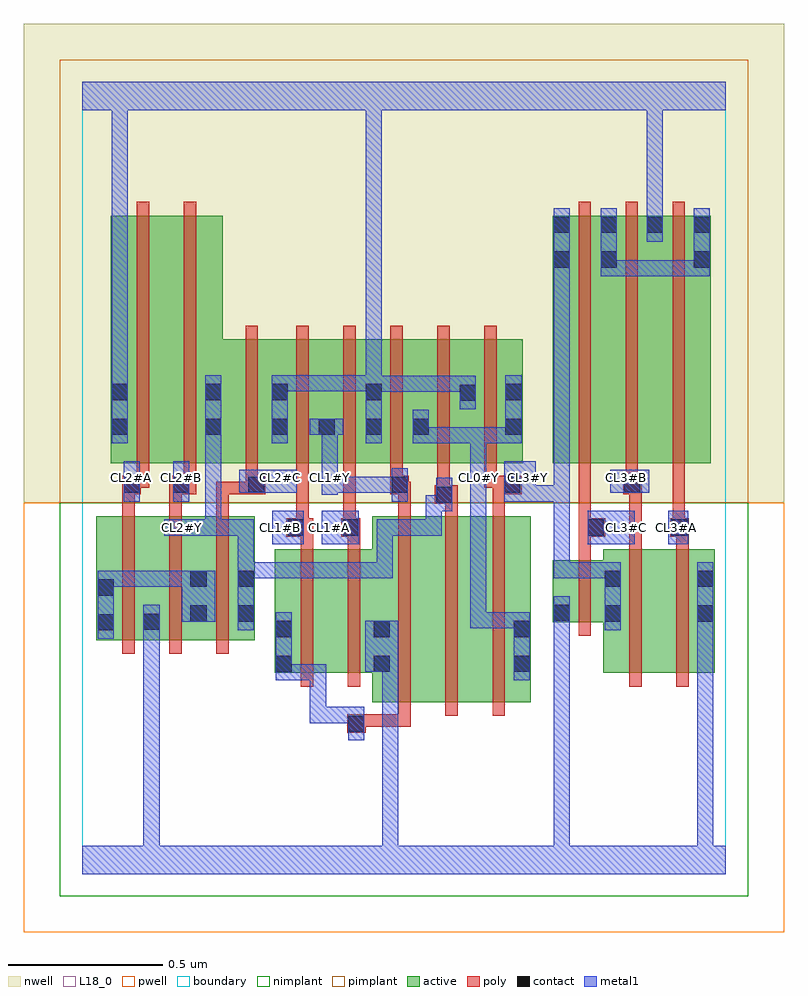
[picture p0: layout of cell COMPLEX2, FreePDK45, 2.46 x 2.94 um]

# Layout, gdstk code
import gdstk
lib = gdstk.Library(unit=1e-6, precision=1e-09)
def R(c, l, rs):  # rectangles x0, y0, x1, y1
    for r in rs: c.add(gdstk.rectangle(r[:2], r[2:], *l))
def A(c, l, x, y, w, h, nx, ny, dx, dy):  # array of equal rectangles
    R(c, l, [(x+i*dx, y+j*dy, x+i*dx+w, y+j*dy+h) for i in range(nx) for j in range(ny)])
active = (1, 0)
pwell = (2, 0)
nwell = (3, 0)
nimplant = (4, 0)
pimplant = (5, 0)
poly = (9, 0)
contact = (10, 0)
metal1 = (11, 0)
L18_0 = (18, 0)
boundary = (235, 0)

complex2 = lib.new_cell('COMPLEX2')
A(complex2, active, 0.194, 0.756, 0.06, 0.4, 3, 1, 0.152, 0)
A(complex2, active, 0.608, 1.328, 0.06, 0.4, 3, 1, 0.152, 0)
A(complex2, active, 0.608, 1.328, 0.212, 0.4, 4, 1, 0.152, 0)
R(complex2, active, [(0.938,0.556,1.118,1.156), (0.938,0.556,0.998,1.05), (1.118,0.556,1.27,1.156), (1.27,0.556,1.45,1.156), (1.39,0.556,1.45,1.156), (0.622,0.65,0.682,1.05), (0.622,0.65,0.802,1.05), (0.802,0.65,0.998,1.05), (1.684,0.65,1.864,1.05), (1.684,0.65,1.744,0.984), (1.864,0.65,2.044,1.05), (1.984,0.65,2.044,1.05), (0.046,0.756,0.106,1.156), (0.046,0.756,0.254,1.156), (0.194,0.756,0.406,1.156), (0.346,0.756,0.558,1.156), (1.52,0.814,1.744,1.014), (1.52,0.814,1.58,1.014), (0.092,1.328,0.152,2.128), (0.092,1.328,0.272,2.128), (0.272,1.328,0.454,2.128), (0.394,1.328,0.668,1.728), (1.216,1.328,1.424,1.728), (1.364,1.328,1.424,1.728), (1.52,1.328,1.58,2.128), (1.52,1.328,1.732,2.128), (1.672,1.328,1.732,2.128), (1.672,1.328,1.88,2.128), (1.82,1.328,2.032,2.128), (1.972,1.328,2.032,2.128), (1.064,1.334,1.124,1.728), (0.394,1.364,0.454,2.128), (1.82,1.47,1.88,2.128), (1.216,1.498,1.276,1.728)])
R(complex2, pwell, [(-0.188,-0.188,2.268,1.2)])
R(complex2, nwell, [(-0.188,1.2,2.268,2.748)])
R(complex2, nimplant, [(-0.072,-0.072,2.152,1.2)])
R(complex2, pimplant, [(-0.072,1.2,2.152,2.632)])
A(complex2, poly, 1.022, 0.512, 0.04, 0.688, 3, 1, 0.152, 0)
A(complex2, poly, 0.13, 0.712, 0.04, 0.488, 3, 1, 0.152, 0)
A(complex2, poly, 0.13, 1.16, 0.04, 0.108, 3, 1, 0.152, 0)
A(complex2, poly, 0.692, 1.284, 0.04, 0.488, 5, 1, 0.152, 0)
A(complex2, poly, 1.604, 1.284, 0.04, 0.888, 3, 1, 0.152, 0)
R(complex2, poly, [(0.856,0.456,0.916,0.516), (0.876,0.476,1.062,0.516), (1.022,0.476,1.062,0.516), (1.022,0.476,1.062,0.516), (1.022,0.476,1.062,0.516), (1.022,0.476,1.062,0.552), (0.706,0.606,0.746,1.094), (0.858,0.606,0.898,1.094), (1.768,0.606,1.808,1.094), (1.92,0.606,1.96,1.094), (1.604,0.77,1.644,1.058), (1.604,1.018,1.644,1.13), (0.706,1.054,0.746,1.13), (0.858,1.054,0.898,1.13), (1.768,1.054,1.808,1.268), (1.92,1.054,1.96,1.13), (0.66,1.09,0.746,1.15), (0.838,1.09,0.898,1.15), (1.604,1.09,1.69,1.15), (1.9,1.09,1.96,1.15), (0.692,1.11,0.732,1.324), (0.692,1.11,0.732,1.15), (0.692,1.11,0.732,1.15), (0.844,1.11,0.884,1.324), (0.844,1.11,0.884,1.15), (0.844,1.11,0.884,1.15), (1.604,1.11,1.644,1.324), (1.604,1.11,1.644,1.15), (1.604,1.11,1.644,1.15), (1.908,1.11,1.948,1.324), (1.908,1.11,1.948,1.15), (1.908,1.11,1.948,1.15), (1.022,1.16,1.062,1.268), (1.174,1.16,1.214,1.236), (1.326,1.16,1.366,1.268), (1.14,1.196,1.214,1.256), (1.148,1.216,1.188,1.256), (1.148,1.216,1.188,1.256), (1.148,1.216,1.188,1.324), (0.13,1.228,0.19,1.288), (0.282,1.228,0.33,1.268), (0.29,1.228,0.33,1.268), (0.29,1.228,0.368,1.288), (0.434,1.228,0.568,1.268), (0.528,1.228,0.568,1.268), (0.528,1.228,0.592,1.288), (0.996,1.228,1.056,1.288), (1.016,1.228,1.056,1.268), (1.016,1.228,1.062,1.268), (1.326,1.228,1.42,1.288), (1.748,1.228,1.808,1.288), (1.768,1.228,1.808,1.268), (1.768,1.228,1.808,1.268), (0.15,1.248,0.19,1.288), (0.15,1.248,0.216,1.288), (0.176,1.248,0.216,1.324), (0.328,1.248,0.368,1.324), (0.528,1.248,0.568,1.324), (0.996,1.248,1.036,1.324), (1.3,1.248,1.34,1.324), (1.3,1.248,1.366,1.288), (1.326,1.248,1.366,1.288), (1.756,1.248,1.796,1.324), (0.176,1.284,0.216,2.172), (0.328,1.284,0.368,2.172), (0.528,1.284,0.568,1.772)])
A(complex2, contact, 0.612, 1.42, 0.052, 0.052, 4, 1, 0.152, 0)
R(complex2, contact, [(0.86,0.46,0.912,0.512), (0.626,0.654,0.678,0.706), (0.942,0.654,0.994,0.706), (1.394,0.654,1.446,0.706), (0.626,0.766,0.678,0.818), (0.942,0.766,0.994,0.818), (1.394,0.766,1.446,0.818), (0.05,0.788,0.102,0.84), (0.198,0.79,0.25,0.842), (0.35,0.816,0.402,0.868), (0.502,0.816,0.554,0.868), (1.688,0.816,1.74,0.868), (1.988,0.816,2.04,0.868), (1.524,0.818,1.576,0.87), (0.05,0.9,0.102,0.952), (0.35,0.928,0.402,0.98), (0.502,0.928,0.554,0.98), (1.688,0.928,1.74,0.98), (1.988,0.928,2.04,0.98), (0.664,1.094,0.716,1.146), (0.842,1.094,0.894,1.146), (1.634,1.094,1.686,1.146), (1.904,1.094,1.956,1.146), (1.144,1.2,1.196,1.252), (0.134,1.232,0.186,1.284), (0.294,1.232,0.346,1.284), (0.536,1.232,0.588,1.284), (1,1.232,1.052,1.284), (1.364,1.232,1.416,1.284), (1.752,1.232,1.804,1.284), (0.096,1.42,0.148,1.472), (0.398,1.42,0.45,1.472), (1.368,1.42,1.42,1.472), (1.22,1.53,1.272,1.582), (0.096,1.532,0.148,1.584), (0.398,1.532,0.45,1.584), (0.612,1.532,0.664,1.584), (0.916,1.532,0.968,1.584), (1.368,1.532,1.42,1.584), (1.524,1.96,1.576,2.012), (1.676,1.96,1.728,2.012), (1.976,1.96,2.028,2.012), (1.524,2.072,1.576,2.124), (1.676,2.072,1.728,2.124), (1.824,2.072,1.876,2.124), (1.976,2.072,2.028,2.124)])
R(complex2, metal1, [(0,0,2.08,0.092), (0.198,0.04,0.25,0.092), (0.198,0.04,0.25,0.092), (0.198,0.04,0.25,0.092), (0.198,0.04,0.25,0.092), (0.198,0.04,0.25,0.092), (0.198,0.04,0.25,0.092), (0.198,0.04,0.25,0.092), (0.198,0.04,0.25,0.092), (0.198,0.04,0.25,0.092), (0.198,0.04,0.25,0.092), (0.198,0.04,0.25,0.092), (0.198,0.04,0.25,0.092), (0.198,0.04,0.25,0.814), (0.97,0.04,1.022,0.092), (0.97,0.04,1.022,0.092), (0.97,0.04,1.022,0.092), (0.97,0.04,1.022,0.092), (0.97,0.04,1.022,0.092), (0.97,0.04,1.022,0.092), (0.97,0.04,1.022,0.092), (0.97,0.04,1.022,0.092), (0.97,0.04,1.022,0.706), (1.524,0.04,1.576,0.092), (1.524,0.04,1.576,0.092), (1.524,0.04,1.576,0.092), (1.524,0.04,1.576,0.092), (1.524,0.04,1.576,0.092), (1.524,0.04,1.576,0.092), (1.524,0.04,1.576,0.092), (1.524,0.04,1.576,0.092), (1.524,0.04,1.576,0.092), (1.524,0.04,1.576,0.092), (1.524,0.04,1.576,0.092), (1.524,0.04,1.576,0.092), (1.524,0.04,1.576,0.092), (1.524,0.04,1.576,0.092), (1.524,0.04,1.576,0.092), (1.524,0.04,1.576,0.092), (1.524,0.04,1.576,0.842), (1.988,0.04,2.04,0.84), (1.988,0.04,2.04,0.092), (1.988,0.04,2.04,0.092), (1.988,0.04,2.04,0.092), (1.988,0.04,2.04,0.092), (1.988,0.04,2.04,0.092), (1.988,0.04,2.04,0.092), (1.988,0.04,2.04,0.092), (1.988,0.04,2.04,0.092), (1.988,0.04,2.04,0.092), (1.988,0.04,2.04,0.092), (1.988,0.04,2.04,0.092), (1.988,0.04,2.04,0.092), (0.86,0.432,0.912,0.54), (0.736,0.488,0.788,0.54), (0.736,0.488,0.788,0.54), (0.736,0.488,0.788,0.54), (0.736,0.488,0.788,0.678), (0.736,0.488,0.912,0.54), (0.626,0.626,0.788,0.678), (0.626,0.626,0.678,0.846), (0.626,0.626,0.678,0.678), (0.626,0.626,0.678,0.678), (0.736,0.626,0.788,0.678), (0.736,0.626,0.788,0.678), (0.736,0.626,0.788,0.678), (1.394,0.626,1.446,0.846), (0.914,0.654,1.022,0.818), (0.05,0.76,0.102,0.98), (0.198,0.762,0.25,0.87), (0.502,0.788,0.554,1.008), (1.688,0.788,1.74,1.008), (1.988,0.788,2.04,1.008), (1.524,0.79,1.576,0.898), (1.254,0.794,1.306,0.846), (1.254,0.794,1.446,0.846), (1.254,0.794,1.306,1.278), (1.394,0.794,1.446,0.846), (1.394,0.794,1.446,0.846), (0.322,0.816,0.43,0.98), (0.05,0.928,0.212,0.98), (0.05,0.928,0.102,0.98), (0.05,0.928,0.102,0.98), (0.16,0.928,0.212,0.98), (0.16,0.928,0.212,0.98), (0.16,0.928,0.212,0.98), (0.16,0.928,0.374,0.98), (0.502,0.956,0.664,1.008), (0.502,0.956,0.554,1.146), (0.612,0.956,0.664,1.008), (0.612,0.956,0.664,1.008), (0.612,0.956,0.664,1.008), (0.612,0.956,0.856,1.008), (0.804,0.956,0.856,1.008), (0.804,0.956,0.856,1.008), (0.804,0.956,0.856,1.008), (0.804,0.956,1.004,1.008), (0.952,0.956,1.004,1.008), (0.952,0.956,1.004,1.146), (1.524,0.956,1.576,1.008), (1.524,0.956,1.576,1.008), (1.524,0.956,1.576,1.008), (1.524,0.956,1.74,1.008), (1.524,0.956,1.576,1.256), (0.614,1.066,0.716,1.174), (0.774,1.066,0.894,1.174), (1.634,1.066,1.786,1.174), (1.894,1.066,1.958,1.174), (0.266,1.094,0.45,1.146), (0.398,1.094,0.554,1.146), (0.398,1.094,0.45,1.444), (0.502,1.094,0.554,1.146), (0.502,1.094,0.554,1.146), (0.502,1.094,0.554,1.146), (0.952,1.094,1.004,1.146), (0.952,1.094,1.022,1.146), (0.97,1.094,1.022,1.146), (0.97,1.094,1.162,1.146), (1.11,1.094,1.162,1.224), (1.11,1.172,1.196,1.224), (1.144,1.172,1.196,1.28), (0.134,1.204,0.186,1.334), (0.294,1.204,0.346,1.334), (1,1.204,1.052,1.312), (1.364,1.204,1.466,1.334), (1.414,1.204,1.576,1.256), (1.414,1.204,1.466,1.256), (1.414,1.204,1.466,1.256), (1.524,1.204,1.576,1.256), (1.524,1.204,1.576,1.256), (1.524,1.204,1.576,1.256), (1.524,1.204,1.576,1.984), (0.774,1.226,0.826,1.334), (1.254,1.226,1.306,1.334), (0.508,1.232,0.694,1.306), (0.774,1.232,0.826,1.284), (0.774,1.232,0.826,1.284), (0.774,1.232,1.01,1.284), (0.958,1.232,1.01,1.284), (0.958,1.232,1.052,1.284), (1.706,1.232,1.832,1.306), (0.774,1.282,0.826,1.472), (1.254,1.282,1.306,1.334), (1.254,1.282,1.306,1.334), (1.254,1.282,1.306,1.444), (0.096,1.392,0.148,1.612), (0.398,1.392,0.45,1.612), (0.398,1.392,0.45,1.444), (0.398,1.392,0.45,1.444), (0.612,1.392,0.664,1.612), (0.916,1.392,0.968,1.612), (1.068,1.392,1.12,1.5), (1.068,1.392,1.306,1.444), (1.254,1.392,1.306,1.444), (1.254,1.392,1.306,1.444), (1.254,1.392,1.306,1.444), (1.254,1.392,1.42,1.444), (1.368,1.392,1.42,1.612), (1.368,1.392,1.42,1.444), (1.368,1.392,1.42,1.444), (0.736,1.42,0.844,1.472), (1.22,1.502,1.272,1.61), (0.916,1.558,1.022,1.61), (0.97,1.558,1.022,1.61), (0.97,1.558,1.162,1.61), (1.11,1.558,1.272,1.61), (1.11,1.558,1.162,1.61), (1.11,1.558,1.162,1.61), (1.11,1.558,1.162,1.61), (0.096,1.56,0.148,2.52), (0.612,1.56,0.664,1.612), (0.612,1.56,0.664,1.612), (0.612,1.56,0.804,1.612), (0.752,1.56,0.804,1.612), (0.752,1.56,0.804,1.612), (0.752,1.56,0.804,1.612), (0.752,1.56,0.968,1.612), (0.916,1.56,0.968,2.52), (1.524,1.932,1.576,2.152), (1.676,1.932,1.728,2.152), (1.676,1.932,1.728,1.984), (1.676,1.932,1.728,1.984), (1.676,1.932,1.918,1.984), (1.866,1.932,2.028,1.984), (1.866,1.932,1.918,1.984), (1.866,1.932,1.918,1.984), (1.866,1.932,1.918,1.984), (1.976,1.932,2.028,2.152), (1.824,2.044,1.876,2.152), (1.824,2.1,1.876,2.152), (1.824,2.1,1.876,2.152), (1.824,2.1,1.876,2.152), (1.824,2.1,1.876,2.152), (1.824,2.1,1.876,2.152), (1.824,2.1,1.876,2.152), (1.824,2.1,1.876,2.52), (0,2.468,2.08,2.56), (0.096,2.468,0.148,2.52), (0.096,2.468,0.148,2.52), (0.096,2.468,0.148,2.52), (0.096,2.468,0.148,2.52), (0.096,2.468,0.148,2.52), (0.096,2.468,0.148,2.52), (0.096,2.468,0.148,2.52), (0.096,2.468,0.148,2.52), (0.916,2.468,0.968,2.52), (0.916,2.468,0.968,2.52), (0.916,2.468,0.968,2.52), (0.916,2.468,0.968,2.52), (0.916,2.468,0.968,2.52), (0.916,2.468,0.968,2.52), (0.916,2.468,0.968,2.52), (0.916,2.468,0.968,2.52), (0.916,2.468,0.968,2.52), (0.916,2.468,0.968,2.52), (0.916,2.468,0.968,2.52), (0.916,2.468,0.968,2.52), (0.916,2.468,0.968,2.52), (0.916,2.468,0.968,2.52), (0.916,2.468,0.968,2.52), (0.916,2.468,0.968,2.52), (1.824,2.468,1.876,2.52), (1.824,2.468,1.876,2.52)])
R(complex2, L18_0, [(0,0,2.08,0.092), (0.198,0.04,0.25,0.092), (0.198,0.04,0.25,0.092), (0.198,0.04,0.25,0.092), (0.198,0.04,0.25,0.092), (0.198,0.04,0.25,0.092), (0.198,0.04,0.25,0.092), (0.198,0.04,0.25,0.092), (0.198,0.04,0.25,0.092), (0.198,0.04,0.25,0.092), (0.198,0.04,0.25,0.092), (0.198,0.04,0.25,0.092), (0.198,0.04,0.25,0.092), (0.198,0.04,0.25,0.814), (0.97,0.04,1.022,0.092), (0.97,0.04,1.022,0.092), (0.97,0.04,1.022,0.092), (0.97,0.04,1.022,0.092), (0.97,0.04,1.022,0.092), (0.97,0.04,1.022,0.092), (0.97,0.04,1.022,0.092), (0.97,0.04,1.022,0.092), (0.97,0.04,1.022,0.706), (1.524,0.04,1.576,0.092), (1.524,0.04,1.576,0.092), (1.524,0.04,1.576,0.092), (1.524,0.04,1.576,0.092), (1.524,0.04,1.576,0.092), (1.524,0.04,1.576,0.092), (1.524,0.04,1.576,0.092), (1.524,0.04,1.576,0.092), (1.524,0.04,1.576,0.092), (1.524,0.04,1.576,0.092), (1.524,0.04,1.576,0.092), (1.524,0.04,1.576,0.092), (1.524,0.04,1.576,0.092), (1.524,0.04,1.576,0.092), (1.524,0.04,1.576,0.092), (1.524,0.04,1.576,0.092), (1.524,0.04,1.576,0.842), (1.988,0.04,2.04,0.092), (1.988,0.04,2.04,0.092), (1.988,0.04,2.04,0.092), (1.988,0.04,2.04,0.092), (1.988,0.04,2.04,0.092), (1.988,0.04,2.04,0.092), (1.988,0.04,2.04,0.092), (1.988,0.04,2.04,0.092), (1.988,0.04,2.04,0.092), (1.988,0.04,2.04,0.092), (1.988,0.04,2.04,0.092), (1.988,0.04,2.04,0.092), (1.988,0.04,2.04,0.84), (0.86,0.432,0.912,0.54), (0.736,0.488,0.788,0.54), (0.736,0.488,0.788,0.54), (0.736,0.488,0.788,0.54), (0.736,0.488,0.788,0.678), (0.736,0.488,0.912,0.54), (0.626,0.626,0.678,0.846), (0.626,0.626,0.678,0.678), (0.626,0.626,0.678,0.678), (0.626,0.626,0.788,0.678), (0.736,0.626,0.788,0.678), (0.736,0.626,0.788,0.678), (0.736,0.626,0.788,0.678), (1.394,0.626,1.446,0.846), (0.914,0.654,1.022,0.818), (0.198,0.762,0.25,0.87), (0.502,0.788,0.554,1.008), (1.688,0.788,1.74,1.008), (1.988,0.788,2.04,1.008), (1.524,0.79,1.576,0.898), (1.254,0.794,1.306,0.846), (1.254,0.794,1.446,0.846), (1.254,0.794,1.306,1.278), (1.394,0.794,1.446,0.846), (1.394,0.794,1.446,0.846), (0.502,0.956,0.554,1.146), (0.502,0.956,0.664,1.008), (0.612,0.956,0.664,1.008), (0.612,0.956,0.664,1.008), (0.612,0.956,0.664,1.008), (0.612,0.956,0.856,1.008), (0.804,0.956,0.856,1.008), (0.804,0.956,0.856,1.008), (0.804,0.956,0.856,1.008), (0.804,0.956,1.004,1.008), (0.952,0.956,1.004,1.008), (0.952,0.956,1.004,1.146), (1.524,0.956,1.576,1.008), (1.524,0.956,1.576,1.008), (1.524,0.956,1.576,1.008), (1.524,0.956,1.74,1.008), (1.524,0.956,1.576,1.256), (0.614,1.066,0.716,1.174), (0.774,1.066,0.894,1.174), (1.634,1.066,1.786,1.174), (1.894,1.066,1.958,1.174), (0.266,1.094,0.45,1.146), (0.294,1.094,0.346,1.146), (0.398,1.094,0.45,1.444), (0.398,1.094,0.554,1.146), (0.502,1.094,0.554,1.146), (0.502,1.094,0.554,1.146), (0.502,1.094,0.554,1.146), (0.614,1.094,0.666,1.146), (0.774,1.094,0.826,1.146), (0.952,1.094,1.004,1.146), (0.952,1.094,1.022,1.146), (0.97,1.094,1.022,1.146), (0.97,1.094,1.162,1.146), (1.11,1.094,1.162,1.224), (1.734,1.094,1.786,1.146), (1.894,1.094,1.946,1.146), (1.11,1.172,1.196,1.224), (1.144,1.172,1.196,1.28), (0.134,1.204,0.186,1.334), (0.294,1.204,0.346,1.334), (1,1.204,1.052,1.312), (1.364,1.204,1.466,1.334), (1.414,1.204,1.466,1.256), (1.414,1.204,1.466,1.256), (1.414,1.204,1.576,1.256), (1.524,1.204,1.576,1.256), (1.524,1.204,1.576,1.256), (1.524,1.204,1.576,1.256), (1.524,1.204,1.576,1.984), (0.774,1.226,0.826,1.334), (1.254,1.226,1.306,1.334), (0.508,1.232,0.694,1.306), (0.774,1.232,0.826,1.284), (0.774,1.232,0.826,1.284), (0.774,1.232,1.01,1.284), (0.958,1.232,1.01,1.284), (0.958,1.232,1.052,1.284), (1.706,1.232,1.832,1.306), (0.134,1.254,0.186,1.306), (0.294,1.254,0.346,1.306), (0.614,1.254,0.666,1.306), (0.774,1.254,0.826,1.306), (1.254,1.254,1.306,1.306), (1.414,1.254,1.466,1.306), (1.734,1.254,1.786,1.306), (0.774,1.282,0.826,1.472), (1.254,1.282,1.306,1.334), (1.254,1.282,1.306,1.334), (1.254,1.282,1.306,1.444), (0.096,1.392,0.148,1.612), (0.398,1.392,0.45,1.612), (0.398,1.392,0.45,1.444), (0.398,1.392,0.45,1.444), (0.612,1.392,0.664,1.612), (0.916,1.392,0.968,1.612), (1.068,1.392,1.12,1.5), (1.068,1.392,1.306,1.444), (1.254,1.392,1.306,1.444), (1.254,1.392,1.306,1.444), (1.254,1.392,1.306,1.444), (1.254,1.392,1.42,1.444), (1.368,1.392,1.42,1.612), (1.368,1.392,1.42,1.444), (1.368,1.392,1.42,1.444), (0.736,1.42,0.844,1.472), (1.22,1.502,1.272,1.61), (0.916,1.558,1.022,1.61), (0.97,1.558,1.022,1.61), (0.97,1.558,1.162,1.61), (1.11,1.558,1.162,1.61), (1.11,1.558,1.162,1.61), (1.11,1.558,1.162,1.61), (1.11,1.558,1.272,1.61), (0.096,1.56,0.148,2.52), (0.612,1.56,0.664,1.612), (0.612,1.56,0.664,1.612), (0.612,1.56,0.804,1.612), (0.752,1.56,0.804,1.612), (0.752,1.56,0.804,1.612), (0.752,1.56,0.804,1.612), (0.752,1.56,0.968,1.612), (0.916,1.56,0.968,2.52), (1.524,1.932,1.576,2.152), (1.824,2.044,1.876,2.152), (1.824,2.1,1.876,2.152), (1.824,2.1,1.876,2.152), (1.824,2.1,1.876,2.152), (1.824,2.1,1.876,2.152), (1.824,2.1,1.876,2.152), (1.824,2.1,1.876,2.152), (1.824,2.1,1.876,2.52), (0,2.468,2.08,2.56), (0.096,2.468,0.148,2.52), (0.096,2.468,0.148,2.52), (0.096,2.468,0.148,2.52), (0.096,2.468,0.148,2.52), (0.096,2.468,0.148,2.52), (0.096,2.468,0.148,2.52), (0.096,2.468,0.148,2.52), (0.096,2.468,0.148,2.52), (0.916,2.468,0.968,2.52), (0.916,2.468,0.968,2.52), (0.916,2.468,0.968,2.52), (0.916,2.468,0.968,2.52), (0.916,2.468,0.968,2.52), (0.916,2.468,0.968,2.52), (0.916,2.468,0.968,2.52), (0.916,2.468,0.968,2.52), (0.916,2.468,0.968,2.52), (0.916,2.468,0.968,2.52), (0.916,2.468,0.968,2.52), (0.916,2.468,0.968,2.52), (0.916,2.468,0.968,2.52), (0.916,2.468,0.968,2.52), (0.916,2.468,0.968,2.52), (0.916,2.468,0.968,2.52), (1.824,2.468,1.876,2.52), (1.824,2.468,1.876,2.52)])
R(complex2, boundary, [(0,0,2.08,2.56)])
complex2.add(gdstk.Label('CL0#Y', (1.28,1.28), layer=11, texttype=0))
complex2.add(gdstk.Label('CL1#A', (0.8,1.12), layer=11, texttype=0))
complex2.add(gdstk.Label('CL1#B', (0.64,1.12), layer=11, texttype=0))
complex2.add(gdstk.Label('CL1#Y', (0.8,1.28), layer=11, texttype=0))
complex2.add(gdstk.Label('CL2#A', (0.16,1.28), layer=11, texttype=0))
complex2.add(gdstk.Label('CL2#B', (0.32,1.28), layer=11, texttype=0))
complex2.add(gdstk.Label('CL2#C', (0.64,1.28), layer=11, texttype=0))
complex2.add(gdstk.Label('CL2#Y', (0.32,1.12), layer=11, texttype=0))
complex2.add(gdstk.Label('CL3#A', (1.92,1.12), layer=11, texttype=0))
complex2.add(gdstk.Label('CL3#B', (1.76,1.28), layer=11, texttype=0))
complex2.add(gdstk.Label('CL3#C', (1.76,1.12), layer=11, texttype=0))
complex2.add(gdstk.Label('CL3#Y', (1.44,1.28), layer=11, texttype=0))

lib.write_gds('COMPLEX2.gds')
